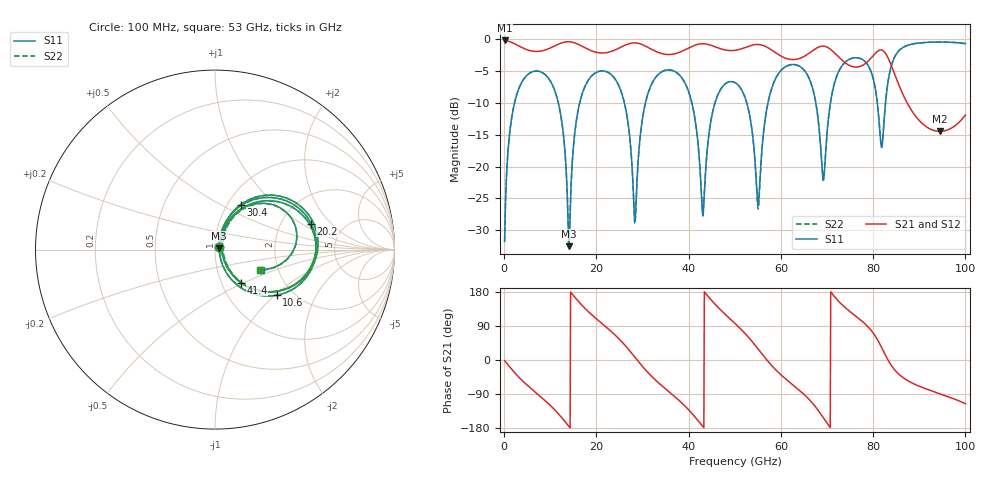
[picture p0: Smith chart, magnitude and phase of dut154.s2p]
! Touchstone file exported from HFSS 2026.1.0
!  File:  C:/ffzhzh/LocalFiles/Ansys_Project_Files/temp_train_TSV_RDL_154_1783645846_26216.aedt
!  Generated:  09:23:29 AM Jul 10, 2026
!  Design:  TSV_RDL
!  Project:  temp_train_TSV_RDL_154_1783645846_26216
! Variables:
!  h_bsmrdl = 3.69um
!  h_ox = 20um
!  h_rdl = 5um
!  h_sub = 82.17um
!  h_tmrdl = 2.86um
!  h_tsv = 82.17um
!  h_via = 3um
!  l_bsmrdl = 690.3um
!  l_sub = 4138.79um
!  l_tmrdl = 385.63um
!  m_sub = 200um
!  pitch = 55.43um
!  r_tsv = 10.52um
!  s_tmrdl = 10um
!  w_bsmrdl = 21.89um
!  w_sub = 500um
!  w_tmrdl = 19.9um
!  x_tsv_center1 = 395.58um
!  x_tsv_center2 = 1107.77um
!  x_tsv_center3 = 1513.3um
!  x_tsv_center4 = 2225.49um
!  x_tsv_center5 = 2631.02um
!  x_tsv_center6 = 3343.21um
# GHz S MA R 50.000000
! Terminal data exported
! Port[1] = TM_RDL1_1_T1
! Port[2] = TM_RDL5_1_T1
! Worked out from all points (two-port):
!   1000 points, 100 MHz to 100 GHz, reference 50 ohm
!   highest |S21| = -0.17 dB at 100 MHz (marker M1); lowest = -14.5 dB at 94.5 GHz (marker M2)
!   |S21| within 3 dB of the highest: start of sweep to 62.41 GHz; 62.83 GHz to 73.09 GHz (10.26 GHz wide, 15.1 % of centre) (the widest 2 of 3)
!   lowest |S11| = -32.5 dB at 14.1 GHz (marker M3), VSWR 1.05, Z = 52.3 + j0.8 ohm
!   |S11| at or under -10 dB: 11.75 GHz to 16.38 GHz (4.624 GHz wide, 32.9 % of centre); 26.07 GHz to 30.63 GHz (4.56 GHz wide, 16.1 % of centre); 40.7 GHz to 45.7 GHz (5.006 GHz wide, 11.6 % of centre) (the widest 3 of 7)
!   |S22| runs from -32.2 to -0.4 dB; largest |S21 - S12| = 7.5e-14
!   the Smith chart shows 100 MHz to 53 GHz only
!   S11 on the Smith chart (normalised r, x): 100 MHz: 1.04, +0.03; 10.6 GHz: 1.65, -1.03; 20.2 GHz: 2.93, +1.22; 30.4 GHz: 1.15, +0.63; 41.4 GHz: 1.23, -0.48; 53 GHz: 1.62, -0.39
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0.1  0.02585 38.8  0.9802 -1.6  0.9802 -1.6  0.02585 38.8
! Gamma 0 0 0 0
! Port Impedance 50 0 50 0
3.1  0.4033 42.5  0.8908 -44.2  0.8908 -44.2  0.4033 42.5
10.6  0.4277 -36.5  0.8756 -126.9  0.8756 -126.9  0.4277 -36.4
14.1  0.02372 18.8  0.9578 -176.1  0.9578 -176.1  0.02459 18.3
16.8  0.3611 51.3  0.8863 145.4  0.8863 145.4  0.3612 51.1
20.2  0.5551 15.1  0.7876 106.6  0.7876 106.6  0.5552 15.0
28.3  0.03708 -5.5  0.9379 8.1  0.9379 8.1  0.03582 -6.0
30.4  0.2896 60.0  0.894 -22.7  0.894 -22.7  0.2893 60.3
33.4  0.5293 28.0  0.7894 -59.5  0.7894 -59.5  0.5292 28.2
41.4  0.2334 -51.9  0.901 -150.6  0.901 -150.6  0.2339 -51.1
43.1  0.04086 7.9  0.9238 -175.6  0.9238 -175.6  0.04437 7.7
50.1  0.4561 6.2  0.8203 95.8  0.8203 95.8  0.4561 5.8
53  0.2777 -23.6  0.8821 59.6  0.8821 59.6  0.2774 -24.3
55.1  0.04969 33.7  0.9114 28.4  0.9114 28.4  0.04647 34.0
58.9  0.4955 59.2  0.7828 -26.1  0.7828 -26.1  0.4953 59.5
66.7  0.4337 -15.3  0.8059 -111.8  0.8059 -111.8  0.4338 -15.2
69.2  0.07806 26.1  0.8846 -152.3  0.8846 -152.3  0.07801 26.0
79  0.6157 1.2  0.6791 86.2  0.6791 86.2  0.6156 1.3
81.8  0.1414 24.8  0.8259 33.9  0.8259 33.9  0.1431 25.0
83.4  0.5059 69.5  0.6941 -3.7  0.6941 -3.7  0.5065 69.4
94.5  0.9521 0.4  0.1894 -89.3  0.1894 -89.3  0.9522 0.4
100  0.9252 -22.3  0.2544 -115.4  0.2544 -115.4  0.9251 -22.4
